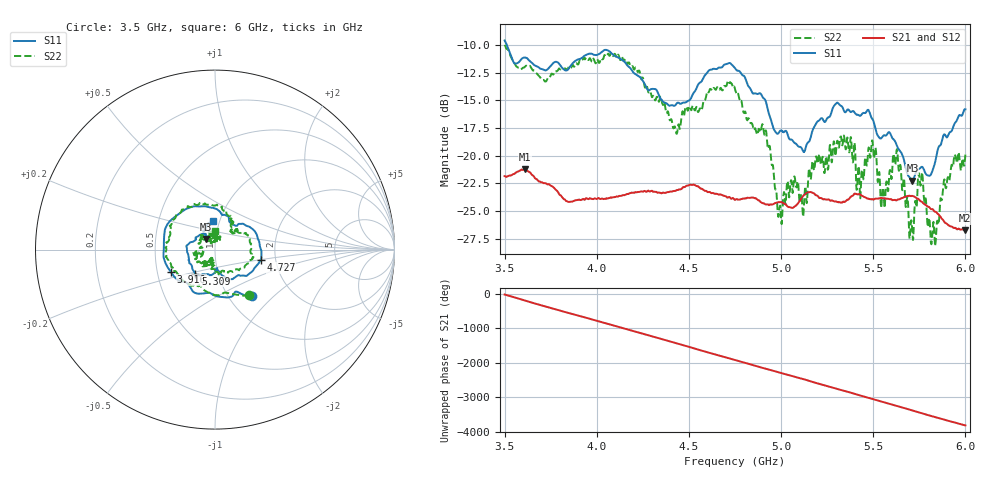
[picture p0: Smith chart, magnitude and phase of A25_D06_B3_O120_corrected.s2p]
! Created with skrf 1.9.0 (http://scikit-rf.org).
# Hz S RI R 50.0
!freq ReS11 ImS11 ReS21 ImS21 ReS12 ImS12 ReS22 ImS22
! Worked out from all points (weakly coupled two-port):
!   1601 points, 3.5 GHz to 6 GHz, reference 50 ohm
!   highest |S21| = -21.25 dB at 3.609 GHz (marker M1); lowest = -26.7 dB at 5.995 GHz (marker M2)
!   lowest |S11| = -22.2 dB at 5.713 GHz (marker M3), VSWR 1.17, Z = 45 + j5.37 ohm
!   |S11| at or under -10 dB: 3.512 GHz to end of sweep
!   |S22| runs from -28.2 to -10.0 dB; largest |S21 - S12| = 0.00096
!   S11 on the Smith chart (normalised r, x): 3.5 GHz: 1.27, -0.75; 3.916 GHz: 0.59, -0.16; 4.727 GHz: 1.67, -0.20; 5.309 GHz: 0.78, -0.21; 6 GHz: 0.93, +0.31
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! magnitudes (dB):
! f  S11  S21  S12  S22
! 3.5 GHz  -9.6  -21.8  -21.8  -10.0
! 3.609 GHz  -11.1  -21.2  -21.2  -12.0
! 3.916 GHz  -11.2  -24.0  -24.0  -11.5
! 3.917 GHz  -11.2  -24.0  -24.0  -11.4
! 4.334 GHz  -14.4  -23.3  -23.3  -15.0
! 4.439 GHz  -15.2  -23.1  -23.0  -17.5
! 4.727 GHz  -11.7  -23.8  -23.7  -13.4
! 4.75 GHz  -12.1  -24.0  -23.9  -14.0
! 4.909 GHz  -14.9  -24.3  -24.3  -18.1
! 4.994 GHz  -17.8  -24.2  -24.1  -24.6
! 5.167 GHz  -17.9  -23.3  -23.3  -21.0
! 5.309 GHz  -15.2  -24.2  -24.1  -19.0
! 5.42 GHz  -16.3  -23.5  -23.5  -20.9
! 5.486 GHz  -16.4  -23.9  -23.9  -20.1
! 5.584 GHz  -17.9  -23.9  -23.9  -22.4
! 5.636 GHz  -19.4  -24.0  -23.9  -20.9
! 5.713 GHz  -22.2  -23.6  -23.6  -27.0
! 5.755 GHz  -21.1  -24.1  -24.0  -22.5
! 5.827 GHz  -21.1  -24.9  -24.9  -26.0
! 5.934 GHz  -17.4  -26.5  -26.5  -20.8
! 5.995 GHz  -15.8  -26.7  -26.6  -20.7
! 6 GHz  -15.8  -26.7  -26.7  -19.9
